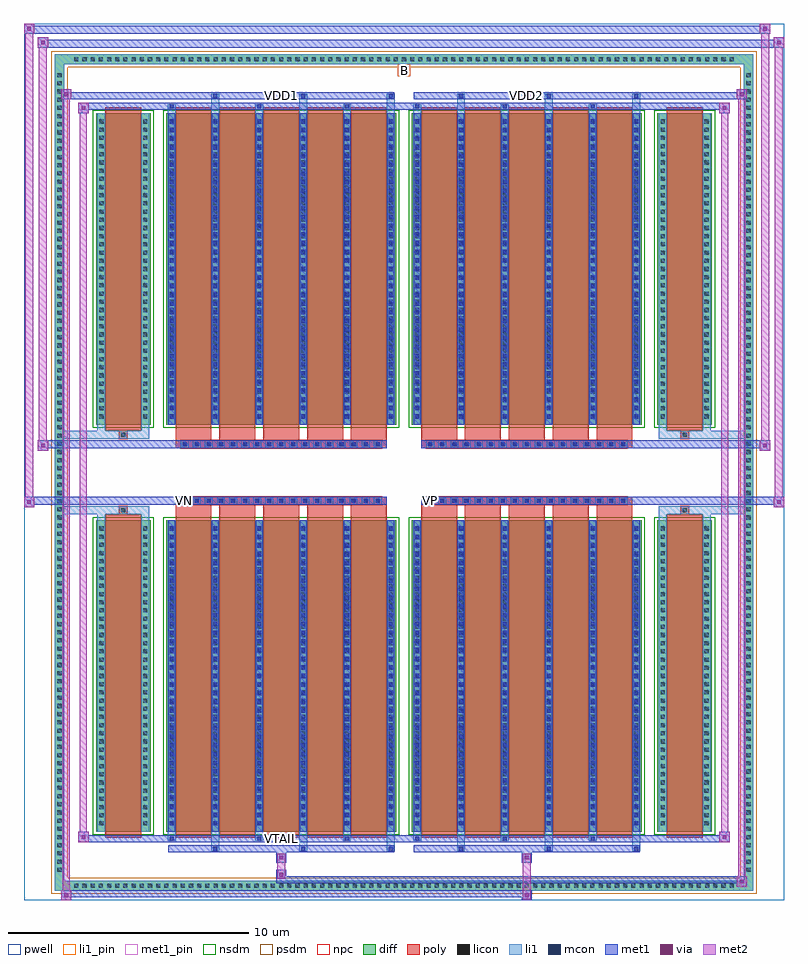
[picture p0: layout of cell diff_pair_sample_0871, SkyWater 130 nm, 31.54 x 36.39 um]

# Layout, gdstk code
import gdstk
lib = gdstk.Library(unit=1e-6, precision=5e-09)
def R(c, l, rs):  # rectangles x0, y0, x1, y1
    for r in rs: c.add(gdstk.rectangle(r[:2], r[2:], *l))
def A(c, l, x, y, w, h, nx, ny, dx, dy):  # array of equal rectangles
    R(c, l, [(x+i*dx, y+j*dy, x+i*dx+w, y+j*dy+h) for i in range(nx) for j in range(ny)])
def P(c, l, *ps):  # polygons
    for p in ps: c.add(gdstk.Polygon(p, *l))
pwell = (64, 44)
diff = (65, 20)
poly = (66, 20)
licon = (66, 44)
li1_pin = (67, 16)
li1 = (67, 20)
mcon = (67, 44)
met1_pin = (68, 16)
met1 = (68, 20)
via = (68, 44)
met2 = (69, 20)
nsdm = (93, 44)
psdm = (94, 20)
npc = (95, 20)

diff_pair_sample_0871 = lib.new_cell('diff_pair_sample_0871')
R(diff_pair_sample_0871, pwell, [(-15.77,-17.76,15.77,18.63), (-13.09,-15.95,-0.01,-0.805), (0.01,-15.95,13.09,-0.805), (-13.09,0.805,-0.01,15.95), (0.01,0.805,13.09,15.95)])
A(diff_pair_sample_0871, diff, -13.805, -17.36, 0.41, 0.41, 81, 2, 0.34, 34.31)
A(diff_pair_sample_0871, diff, -14.5, -16.695, 0.41, 0.41, 1, 98, 0, 0.34)
A(diff_pair_sample_0871, diff, 14.09, -16.695, 0.41, 0.41, 1, 98, 0, 0.34)
R(diff_pair_sample_0871, diff, [(-13.805,-17.36,13.805,-16.95), (-14.5,-16.695,-14.09,16.695), (14.09,-16.695,14.5,16.695), (-12.78,-14.905,-10.51,-1.985), (-9.87,-14.905,-0.32,-1.985), (0.32,-14.905,9.87,-1.985), (10.51,-14.905,12.78,-1.985), (-12.78,1.985,-10.51,14.905), (-9.87,1.985,-0.32,14.905), (0.32,1.985,9.87,14.905), (10.51,1.985,12.78,14.905), (-13.805,16.95,13.805,17.36)])
P(diff_pair_sample_0871, diff, [(14.5,17.36),(-14.5,17.36),(-14.5,-16.95),(-14.09,-16.95),(-14.09,16.95),(14.09,16.95),(14.09,-16.95),(-14.09,-16.95),(-14.5,-16.95),(-14.5,-17.36),(14.5,-17.36)])
A(diff_pair_sample_0871, poly, -9.48, -15.155, 1.49, 13.42, 5, 2, 1.82, 16.89)
A(diff_pair_sample_0871, poly, 0.71, -15.155, 1.49, 13.42, 5, 2, 1.82, 16.89)
A(diff_pair_sample_0871, poly, -9.48, -1.735, 1.49, 0.4, 5, 2, 1.82, 3.07)
A(diff_pair_sample_0871, poly, 0.71, -1.735, 1.49, 0.4, 5, 2, 1.82, 3.07)
A(diff_pair_sample_0871, poly, -9.26, -1.335, 0.33, 0.33, 17, 2, 0.5, 2.34)
A(diff_pair_sample_0871, poly, 0.93, -1.335, 0.33, 0.33, 17, 2, 0.5, 2.34)
R(diff_pair_sample_0871, poly, [(-12.39,-15.155,-10.9,-1.735), (10.9,-15.155,12.39,-1.735), (-11.81,-1.735,-11.48,-1.405), (-11.81,-1.735,-11.48,-1.405), (11.48,-1.735,11.81,-1.405), (11.48,-1.735,11.81,-1.405), (-9.48,-1.335,-0.71,-1.005), (0.71,-1.335,9.48,-1.005), (-9.48,1.005,-0.71,1.335), (0.71,1.005,9.48,1.335), (-11.81,1.405,-11.48,1.735), (-11.81,1.405,-11.48,1.735), (11.48,1.405,11.81,1.735), (11.48,1.405,11.81,1.735), (-12.39,1.735,-10.9,15.155), (10.9,1.735,12.39,15.155)])
A(diff_pair_sample_0871, licon, -13.685, -17.24, 0.17, 0.17, 81, 2, 0.34, 34.31)
A(diff_pair_sample_0871, licon, -14.38, -16.575, 0.17, 0.17, 1, 98, 0, 0.34)
A(diff_pair_sample_0871, licon, 14.21, -16.575, 0.17, 0.17, 1, 98, 0, 0.34)
A(diff_pair_sample_0871, licon, -12.64, -14.65, 0.17, 0.17, 1, 37, 0, 0.34)
A(diff_pair_sample_0871, licon, -10.82, -14.65, 0.17, 0.17, 1, 37, 0, 0.34)
A(diff_pair_sample_0871, licon, -9.73, -14.65, 0.17, 0.17, 6, 37, 1.82, 0.34)
A(diff_pair_sample_0871, licon, 0.46, -14.65, 0.17, 0.17, 6, 37, 1.82, 0.34)
A(diff_pair_sample_0871, licon, 10.65, -14.65, 0.17, 0.17, 1, 37, 0, 0.34)
A(diff_pair_sample_0871, licon, 12.47, -14.65, 0.17, 0.17, 1, 37, 0, 0.34)
A(diff_pair_sample_0871, licon, -9.18, -1.255, 0.17, 0.17, 17, 2, 0.5, 2.34)
A(diff_pair_sample_0871, licon, 1.01, -1.255, 0.17, 0.17, 17, 2, 0.5, 2.34)
A(diff_pair_sample_0871, licon, -12.64, 2.24, 0.17, 0.17, 1, 37, 0, 0.34)
A(diff_pair_sample_0871, licon, -10.82, 2.24, 0.17, 0.17, 1, 37, 0, 0.34)
A(diff_pair_sample_0871, licon, -9.73, 2.24, 0.17, 0.17, 6, 37, 1.82, 0.34)
A(diff_pair_sample_0871, licon, 0.46, 2.24, 0.17, 0.17, 6, 37, 1.82, 0.34)
A(diff_pair_sample_0871, licon, 10.65, 2.24, 0.17, 0.17, 1, 37, 0, 0.34)
A(diff_pair_sample_0871, licon, 12.47, 2.24, 0.17, 0.17, 1, 37, 0, 0.34)
R(diff_pair_sample_0871, licon, [(-11.73,-1.655,-11.56,-1.485), (11.56,-1.655,11.73,-1.485), (-11.73,1.485,-11.56,1.655), (11.56,1.485,11.73,1.655)])
R(diff_pair_sample_0871, li1_pin, [(-0.25,16.45,0.25,16.95)])
A(diff_pair_sample_0871, li1, -13.765, -17.32, 0.33, 0.33, 81, 2, 0.34, 34.31)
A(diff_pair_sample_0871, li1, -14.46, -16.655, 0.33, 0.33, 1, 98, 0, 0.34)
A(diff_pair_sample_0871, li1, 14.13, -16.655, 0.33, 0.33, 1, 98, 0, 0.34)
A(diff_pair_sample_0871, li1, -7.99, -15.71, 0.33, 0.805, 3, 2, 3.64, 30.615)
A(diff_pair_sample_0871, li1, -7.91, -15.71, 0.17, 0.17, 3, 2, 3.64, 31.25)
A(diff_pair_sample_0871, li1, 2.2, -15.71, 0.33, 0.805, 3, 2, 3.64, 30.615)
A(diff_pair_sample_0871, li1, 2.28, -15.71, 0.17, 0.17, 3, 2, 3.64, 31.25)
A(diff_pair_sample_0871, li1, -9.81, -15.28, 0.33, 0.375, 3, 2, 3.64, 30.185)
A(diff_pair_sample_0871, li1, -9.73, -15.28, 0.17, 0.17, 3, 2, 3.64, 30.39)
A(diff_pair_sample_0871, li1, 0.38, -15.28, 0.33, 0.375, 3, 2, 3.64, 30.185)
A(diff_pair_sample_0871, li1, 0.46, -15.28, 0.17, 0.17, 3, 2, 3.64, 30.39)
A(diff_pair_sample_0871, li1, -9.81, -14.905, 0.33, 12.92, 6, 2, 1.82, 16.89)
A(diff_pair_sample_0871, li1, 0.38, -14.905, 0.33, 12.92, 6, 2, 1.82, 16.89)
A(diff_pair_sample_0871, li1, -12.72, -14.73, 0.33, 0.33, 1, 37, 0, 0.34)
A(diff_pair_sample_0871, li1, -10.9, -14.73, 0.33, 0.33, 1, 37, 0, 0.34)
A(diff_pair_sample_0871, li1, -9.81, -14.73, 0.33, 0.33, 6, 37, 1.82, 0.34)
A(diff_pair_sample_0871, li1, 0.38, -14.73, 0.33, 0.33, 6, 37, 1.82, 0.34)
A(diff_pair_sample_0871, li1, 10.57, -14.73, 0.33, 0.33, 1, 37, 0, 0.34)
A(diff_pair_sample_0871, li1, 12.39, -14.73, 0.33, 0.33, 1, 37, 0, 0.34)
A(diff_pair_sample_0871, li1, -9.73, -14.65, 0.17, 0.17, 6, 35, 1.82, 0.36)
A(diff_pair_sample_0871, li1, -9.73, -14.65, 0.17, 12.41, 6, 2, 1.82, 16.89)
A(diff_pair_sample_0871, li1, 0.46, -14.65, 0.17, 0.17, 6, 35, 1.82, 0.36)
A(diff_pair_sample_0871, li1, 0.46, -14.65, 0.17, 12.41, 6, 2, 1.82, 16.89)
A(diff_pair_sample_0871, li1, -9.26, -1.335, 0.33, 0.33, 17, 2, 0.5, 2.34)
A(diff_pair_sample_0871, li1, 0.93, -1.335, 0.33, 0.33, 17, 2, 0.5, 2.34)
A(diff_pair_sample_0871, li1, -12.72, 2.16, 0.33, 0.33, 1, 37, 0, 0.34)
A(diff_pair_sample_0871, li1, -10.9, 2.16, 0.33, 0.33, 1, 37, 0, 0.34)
A(diff_pair_sample_0871, li1, -9.81, 2.16, 0.33, 0.33, 6, 37, 1.82, 0.34)
A(diff_pair_sample_0871, li1, 0.38, 2.16, 0.33, 0.33, 6, 37, 1.82, 0.34)
A(diff_pair_sample_0871, li1, 10.57, 2.16, 0.33, 0.33, 1, 37, 0, 0.34)
A(diff_pair_sample_0871, li1, 12.39, 2.16, 0.33, 0.33, 1, 37, 0, 0.34)
A(diff_pair_sample_0871, li1, -9.73, 2.24, 0.17, 0.17, 6, 35, 1.82, 0.36)
A(diff_pair_sample_0871, li1, 0.46, 2.24, 0.17, 0.17, 6, 35, 1.82, 0.36)
R(diff_pair_sample_0871, li1, [(-14.5,-17.36,-14.09,-16.95), (-14.5,-17.36,-14.09,-16.95), (-14.09,-17.36,14.09,-16.95), (14.09,-17.36,14.5,-16.95), (14.09,-17.36,14.5,-16.95), (-14.5,-16.95,-14.09,16.95), (14.09,-16.95,14.5,16.95), (-12.72,-14.905,-12.39,-1.985), (-10.9,-14.905,-10.57,-1.985), (10.57,-14.905,10.9,-1.985), (12.39,-14.905,12.72,-1.985), (-12.72,-1.985,-12.39,-1.405), (-10.9,-1.985,-10.57,-1.405), (10.57,-1.985,10.9,-1.405), (12.39,-1.985,12.72,-1.405), (-14.5,-1.735,-11.81,-1.405), (-12.72,-1.735,-11.81,-1.405), (-11.81,-1.735,-11.48,-1.405), (-11.48,-1.735,-10.57,-1.405), (10.57,-1.735,11.48,-1.405), (11.48,-1.735,11.81,-1.405), (11.48,-1.735,14.5,-1.405), (11.81,-1.735,12.72,-1.405), (-14.5,1.405,-11.81,1.735), (-12.72,1.405,-11.81,1.735), (-12.72,1.405,-12.39,1.985), (-11.81,1.405,-11.48,1.735), (-11.48,1.405,-10.57,1.735), (-10.9,1.405,-10.57,1.985), (10.57,1.405,11.48,1.735), (10.57,1.405,10.9,1.985), (11.48,1.405,11.81,1.735), (11.48,1.405,14.5,1.735), (11.81,1.405,12.72,1.735), (12.39,1.405,12.72,1.985), (-12.72,1.985,-12.39,14.905), (-10.9,1.985,-10.57,14.905), (10.57,1.985,10.9,14.905), (12.39,1.985,12.72,14.905), (-14.5,16.95,-14.09,17.36), (-14.5,16.95,-14.09,17.36), (-14.09,16.95,14.09,17.36), (14.09,16.95,14.5,17.36), (14.09,16.95,14.5,17.36)])
A(diff_pair_sample_0871, mcon, -7.91, -15.71, 0.17, 0.17, 3, 2, 3.64, 31.25)
A(diff_pair_sample_0871, mcon, 2.28, -15.71, 0.17, 0.17, 3, 2, 3.64, 31.25)
A(diff_pair_sample_0871, mcon, -9.73, -15.28, 0.17, 0.17, 3, 2, 3.64, 30.39)
A(diff_pair_sample_0871, mcon, 0.46, -15.28, 0.17, 0.17, 3, 2, 3.64, 30.39)
A(diff_pair_sample_0871, mcon, -9.73, -14.65, 0.17, 0.17, 6, 35, 1.82, 0.36)
A(diff_pair_sample_0871, mcon, 0.46, -14.65, 0.17, 0.17, 6, 35, 1.82, 0.36)
A(diff_pair_sample_0871, mcon, -9.18, -1.255, 0.17, 0.17, 17, 2, 0.5, 2.34)
A(diff_pair_sample_0871, mcon, 1.01, -1.255, 0.17, 0.17, 17, 2, 0.5, 2.34)
A(diff_pair_sample_0871, mcon, -9.73, 2.24, 0.17, 0.17, 6, 35, 1.82, 0.36)
A(diff_pair_sample_0871, mcon, 0.46, 2.24, 0.17, 0.17, 6, 35, 1.82, 0.36)
R(diff_pair_sample_0871, met1_pin, [(-5.23,-15.32,-4.96,-15.05), (-9.23,-1.295,-8.96,-1.025), (0.96,-1.295,1.23,-1.025), (-5.23,15.5,-4.96,15.77), (4.96,15.5,5.23,15.77)])
A(diff_pair_sample_0871, met1, -7.97, -15.77, 0.29, 0.29, 3, 2, 3.64, 31.25)
A(diff_pair_sample_0871, met1, 2.22, -15.77, 0.29, 0.29, 3, 2, 3.64, 31.25)
A(diff_pair_sample_0871, met1, -9.79, -15.34, 0.29, 0.29, 3, 2, 3.64, 30.39)
A(diff_pair_sample_0871, met1, 0.4, -15.34, 0.29, 0.29, 3, 2, 3.64, 30.39)
A(diff_pair_sample_0871, met1, -9.79, -14.905, 0.29, 12.92, 6, 2, 1.82, 16.89)
A(diff_pair_sample_0871, met1, 0.4, -14.905, 0.29, 12.92, 6, 2, 1.82, 16.89)
A(diff_pair_sample_0871, met1, -9.79, -14.71, 0.29, 0.29, 6, 35, 1.82, 0.36)
A(diff_pair_sample_0871, met1, 0.4, -14.71, 0.29, 0.29, 6, 35, 1.82, 0.36)
A(diff_pair_sample_0871, met1, -9.24, -1.315, 0.29, 0.29, 17, 2, 0.5, 2.34)
A(diff_pair_sample_0871, met1, 0.95, -1.315, 0.29, 0.29, 17, 2, 0.5, 2.34)
A(diff_pair_sample_0871, met1, -9.79, 2.18, 0.29, 0.29, 6, 35, 1.82, 0.36)
A(diff_pair_sample_0871, met1, 0.4, 2.18, 0.29, 0.29, 6, 35, 1.82, 0.36)
R(diff_pair_sample_0871, met1, [(-14.23,-17.76,-13.8,-17.33), (4.88,-17.76,5.31,-17.33), (-14.23,-17.62,5.31,-17.33), (13.8,-17.19,14.23,-16.76), (-5.31,-17.05,14.23,-16.76), (-5.31,-16.91,-4.88,-16.48), (-5.31,-16.2,-4.88,-15.77), (4.88,-16.2,5.31,-15.77), (-9.79,-15.77,-0.4,-15.48), (0.4,-15.77,9.79,-15.48), (-13.52,-15.34,-13.09,-14.91), (-13.52,-15.34,-9.79,-15.05), (-9.79,-15.34,-0.4,-15.05), (-0.4,-15.34,0.4,-15.05), (0.4,-15.34,9.79,-15.05), (9.79,-15.34,13.52,-15.05), (13.09,-15.34,13.52,-14.91), (-15.77,-1.435,-15.34,-1.005), (15.34,-1.435,15.77,-1.005), (-15.77,-1.335,-0.71,-1.005), (-9.48,-1.335,-0.71,-1.005), (0.71,-1.335,9.48,-1.005), (0.71,-1.335,15.77,-1.005), (-15.2,0.905,-14.77,1.335), (14.77,0.905,15.2,1.335), (-15.2,1.005,-9.48,1.335), (-9.48,1.005,-0.71,1.335), (0.71,1.005,9.48,1.335), (9.48,1.005,15.2,1.335), (-13.52,14.91,-13.09,15.34), (13.09,14.91,13.52,15.34), (-13.52,15.05,-9.79,15.34), (-9.79,15.05,-0.4,15.34), (-0.4,15.05,0.4,15.34), (0.4,15.05,9.79,15.34), (9.79,15.05,13.52,15.34), (-14.23,15.48,-13.8,15.91), (-14.23,15.48,-9.79,15.77), (-9.79,15.48,-0.4,15.77), (0.4,15.48,9.79,15.77), (9.79,15.48,14.23,15.77), (13.8,15.48,14.23,15.91), (-15.2,17.63,-14.77,18.06), (-15.2,17.63,-13.09,17.96), (-13.09,17.63,13.09,17.96), (13.09,17.63,15.77,17.96), (15.34,17.63,15.77,18.06), (-15.77,18.2,-15.34,18.63), (-15.77,18.2,-13.09,18.53), (-13.09,18.2,13.09,18.53), (13.09,18.2,15.2,18.53), (14.77,18.2,15.2,18.63)])
R(diff_pair_sample_0871, via, [(-14.09,-17.62,-13.94,-17.47), (5.02,-17.62,5.17,-17.47), (13.94,-17.05,14.09,-16.9), (-5.17,-16.77,-5.02,-16.62), (-5.17,-16.06,-5.02,-15.91), (5.02,-16.06,5.17,-15.91), (-13.38,-15.2,-13.23,-15.05), (13.23,-15.2,13.38,-15.05), (-15.63,-1.295,-15.48,-1.145), (15.48,-1.295,15.63,-1.145), (-15.06,1.045,-14.91,1.195), (14.91,1.045,15.06,1.195), (-13.38,15.05,-13.23,15.2), (13.23,15.05,13.38,15.2), (-14.09,15.62,-13.94,15.77), (13.94,15.62,14.09,15.77), (-15.06,17.77,-14.91,17.92), (15.48,17.77,15.63,17.92), (-15.63,18.34,-15.48,18.49), (14.91,18.34,15.06,18.49)])
R(diff_pair_sample_0871, met2, [(-14.23,-17.76,-13.8,-17.33), (-14.16,-17.76,-13.87,15.91), (-13.87,-17.76,-13.8,-17.33), (-14.18,-17.71,-13.85,-17.38), (4.93,-17.71,5.26,-17.38), (4.93,-17.38,5.26,-16.15), (13.8,-17.19,14.23,-16.76), (13.87,-17.19,14.16,15.91), (14.16,-17.19,14.23,-16.76), (13.85,-17.14,14.18,-16.81), (-5.26,-16.86,-4.93,-16.53), (-5.26,-16.53,-4.93,-16.15), (-5.26,-16.15,-4.93,-15.82), (4.93,-16.15,5.26,-15.82), (-13.52,-15.34,-13.09,-14.91), (-13.45,-15.34,-13.16,15.34), (-13.16,-15.34,-13.09,-14.91), (13.09,-15.34,13.52,-14.91), (13.16,-15.34,13.45,15.34), (13.45,-15.34,13.52,-14.91), (-13.47,-15.29,-13.14,-14.96), (13.14,-15.29,13.47,-14.96), (-15.77,-1.435,-15.34,-1.005), (-15.72,-1.435,-15.39,18.63), (-15.39,-1.435,-15.34,-1.005), (15.34,-1.435,15.77,-1.005), (15.39,-1.435,15.72,18.06), (15.72,-1.435,15.77,-1.005), (-15.72,-1.385,-15.39,-1.055), (15.39,-1.385,15.72,-1.055), (-15.2,0.905,-14.77,1.335), (-15.15,0.905,-14.82,18.06), (-14.82,0.905,-14.77,1.335), (14.77,0.905,15.2,1.335), (14.82,0.905,15.15,18.63), (15.15,0.905,15.2,1.335), (-15.15,0.955,-14.82,1.285), (14.82,0.955,15.15,1.285), (-13.52,14.91,-13.09,15.34), (-13.16,14.91,-13.09,15.34), (13.09,14.91,13.52,15.34), (13.45,14.91,13.52,15.34), (-13.47,14.96,-13.14,15.29), (13.14,14.96,13.47,15.29), (-14.23,15.48,-13.8,15.91), (-13.87,15.48,-13.8,15.91), (13.8,15.48,14.23,15.91), (14.16,15.48,14.23,15.91), (-14.18,15.53,-13.85,15.86), (13.85,15.53,14.18,15.86), (-15.2,17.63,-14.77,18.06), (-14.82,17.63,-14.77,18.06), (15.34,17.63,15.77,18.06), (15.72,17.63,15.77,18.06), (-15.15,17.68,-14.82,18.01), (15.39,17.68,15.72,18.01), (-15.77,18.2,-15.34,18.63), (-15.39,18.2,-15.34,18.63), (14.77,18.2,15.2,18.63), (15.15,18.2,15.2,18.63), (-15.72,18.25,-15.39,18.58), (14.82,18.25,15.15,18.58)])
R(diff_pair_sample_0871, nsdm, [(-12.91,-15.035,-10.38,-1.855), (-10,-15.035,-0.19,-1.855), (0.19,-15.035,10,-1.855), (10.38,-15.035,12.91,-1.855), (-12.91,1.855,-10.38,15.035), (-10,1.855,-0.19,15.035), (0.19,1.855,10,15.035), (10.38,1.855,12.91,15.035)])
P(diff_pair_sample_0871, psdm, [(14.63,17.49),(-14.63,17.49),(-14.63,-16.82),(-13.96,-16.82),(-13.96,16.82),(13.96,16.82),(13.96,-16.82),(-13.96,-16.82),(-14.63,-16.82),(-14.63,-17.49),(14.63,-17.49)])
A(diff_pair_sample_0871, npc, -9.28, -1.355, 0.37, 0.37, 17, 2, 0.5, 2.34)
A(diff_pair_sample_0871, npc, 0.91, -1.355, 0.37, 0.37, 17, 2, 0.5, 2.34)
R(diff_pair_sample_0871, npc, [(-11.83,-1.755,-11.46,-1.385), (11.46,-1.755,11.83,-1.385), (-9.28,-1.355,-8.41,-0.985), (-9.28,-1.355,-8.41,-0.985), (-8.78,-1.355,-7.91,-0.985), (-8.78,-1.355,-7.91,-0.985), (-8.28,-1.355,-7.41,-0.985), (-8.28,-1.355,-7.41,-0.985), (-7.78,-1.355,-6.91,-0.985), (-7.78,-1.355,-6.91,-0.985), (-7.28,-1.355,-6.41,-0.985), (-7.28,-1.355,-6.41,-0.985), (-6.78,-1.355,-5.91,-0.985), (-6.78,-1.355,-5.91,-0.985), (-6.28,-1.355,-5.41,-0.985), (-6.28,-1.355,-5.41,-0.985), (-5.78,-1.355,-4.91,-0.985), (-5.78,-1.355,-4.91,-0.985), (-5.28,-1.355,-4.41,-0.985), (-5.28,-1.355,-4.41,-0.985), (-4.78,-1.355,-3.91,-0.985), (-4.78,-1.355,-3.91,-0.985), (-4.28,-1.355,-3.41,-0.985), (-4.28,-1.355,-3.41,-0.985), (-3.78,-1.355,-2.91,-0.985), (-3.78,-1.355,-2.91,-0.985), (-3.28,-1.355,-2.41,-0.985), (-3.28,-1.355,-2.41,-0.985), (-2.78,-1.355,-1.91,-0.985), (-2.78,-1.355,-1.91,-0.985), (-2.28,-1.355,-1.41,-0.985), (-2.28,-1.355,-1.41,-0.985), (-1.78,-1.355,-0.91,-0.985), (-1.78,-1.355,-0.91,-0.985), (0.91,-1.355,1.78,-0.985), (0.91,-1.355,1.78,-0.985), (1.41,-1.355,2.28,-0.985), (1.41,-1.355,2.28,-0.985), (1.91,-1.355,2.78,-0.985), (1.91,-1.355,2.78,-0.985), (2.41,-1.355,3.28,-0.985), (2.41,-1.355,3.28,-0.985), (2.91,-1.355,3.78,-0.985), (2.91,-1.355,3.78,-0.985), (3.41,-1.355,4.28,-0.985), (3.41,-1.355,4.28,-0.985), (3.91,-1.355,4.78,-0.985), (3.91,-1.355,4.78,-0.985), (4.41,-1.355,5.28,-0.985), (4.41,-1.355,5.28,-0.985), (4.91,-1.355,5.78,-0.985), (4.91,-1.355,5.78,-0.985), (5.41,-1.355,6.28,-0.985), (5.41,-1.355,6.28,-0.985), (5.91,-1.355,6.78,-0.985), (5.91,-1.355,6.78,-0.985), (6.41,-1.355,7.28,-0.985), (6.41,-1.355,7.28,-0.985), (6.91,-1.355,7.78,-0.985), (6.91,-1.355,7.78,-0.985), (7.41,-1.355,8.28,-0.985), (7.41,-1.355,8.28,-0.985), (7.91,-1.355,8.78,-0.985), (7.91,-1.355,8.78,-0.985), (8.41,-1.355,9.28,-0.985), (8.41,-1.355,9.28,-0.985), (-9.28,0.985,-8.41,1.355), (-9.28,0.985,-8.41,1.355), (-8.78,0.985,-7.91,1.355), (-8.78,0.985,-7.91,1.355), (-8.28,0.985,-7.41,1.355), (-8.28,0.985,-7.41,1.355), (-7.78,0.985,-6.91,1.355), (-7.78,0.985,-6.91,1.355), (-7.28,0.985,-6.41,1.355), (-7.28,0.985,-6.41,1.355), (-6.78,0.985,-5.91,1.355), (-6.78,0.985,-5.91,1.355), (-6.28,0.985,-5.41,1.355), (-6.28,0.985,-5.41,1.355), (-5.78,0.985,-4.91,1.355), (-5.78,0.985,-4.91,1.355), (-5.28,0.985,-4.41,1.355), (-5.28,0.985,-4.41,1.355), (-4.78,0.985,-3.91,1.355), (-4.78,0.985,-3.91,1.355), (-4.28,0.985,-3.41,1.355), (-4.28,0.985,-3.41,1.355), (-3.78,0.985,-2.91,1.355), (-3.78,0.985,-2.91,1.355), (-3.28,0.985,-2.41,1.355), (-3.28,0.985,-2.41,1.355), (-2.78,0.985,-1.91,1.355), (-2.78,0.985,-1.91,1.355), (-2.28,0.985,-1.41,1.355), (-2.28,0.985,-1.41,1.355), (-1.78,0.985,-0.91,1.355), (-1.78,0.985,-0.91,1.355), (0.91,0.985,1.78,1.355), (0.91,0.985,1.78,1.355), (1.41,0.985,2.28,1.355), (1.41,0.985,2.28,1.355), (1.91,0.985,2.78,1.355), (1.91,0.985,2.78,1.355), (2.41,0.985,3.28,1.355), (2.41,0.985,3.28,1.355), (2.91,0.985,3.78,1.355), (2.91,0.985,3.78,1.355), (3.41,0.985,4.28,1.355), (3.41,0.985,4.28,1.355), (3.91,0.985,4.78,1.355), (3.91,0.985,4.78,1.355), (4.41,0.985,5.28,1.355), (4.41,0.985,5.28,1.355), (4.91,0.985,5.78,1.355), (4.91,0.985,5.78,1.355), (5.41,0.985,6.28,1.355), (5.41,0.985,6.28,1.355), (5.91,0.985,6.78,1.355), (5.91,0.985,6.78,1.355), (6.41,0.985,7.28,1.355), (6.41,0.985,7.28,1.355), (6.91,0.985,7.78,1.355), (6.91,0.985,7.78,1.355), (7.41,0.985,8.28,1.355), (7.41,0.985,8.28,1.355), (7.91,0.985,8.78,1.355), (7.91,0.985,8.78,1.355), (8.41,0.985,9.28,1.355), (8.41,0.985,9.28,1.355), (-11.83,1.385,-11.46,1.755), (11.46,1.385,11.83,1.755)])
diff_pair_sample_0871.add(gdstk.Label('VTAIL', (-5.095,-15.185), layer=68, texttype=5))
diff_pair_sample_0871.add(gdstk.Label('VN', (-9.095,-1.16), layer=68, texttype=5))
diff_pair_sample_0871.add(gdstk.Label('VP', (1.095,-1.16), layer=68, texttype=5))
diff_pair_sample_0871.add(gdstk.Label('B', (0,16.7), layer=67, texttype=5))
diff_pair_sample_0871.add(gdstk.Label('VDD2', (5.095,15.635), layer=68, texttype=5))
diff_pair_sample_0871.add(gdstk.Label('VDD1', (-5.095,15.635), layer=68, texttype=5))

lib.write_gds('diff_pair_sample_0871.gds')
